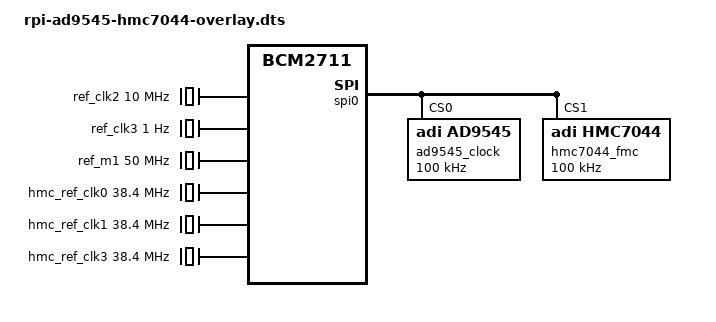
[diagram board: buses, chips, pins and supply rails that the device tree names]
/dts-v1/;
/plugin/;

/* AD-SYNCHRONA14-EBZ Rev. B - DT */

/ {
	#include <dt-bindings/clock/ad9545.h>
	#include <dt-bindings/iio/frequency/hmc7044.h>
	#include <dt-bindings/gpio/gpio.h>

	compatible = "brcm,bcm2835", "brcm,bcm2708", "brcm,bcm2709", "brcm,bcm2711";

	fragment@0 {

		target-path = "/";
		__overlay__ {

			ref_clk2: ref_clk_2 {
				compatible = "fixed-clock";
				#clock-cells = <1>;

				clock-frequency  = <10000000>;
				clock-output-names = "Ref-B";
			};

			ref_clk3: ref_clk_3 {
				compatible = "fixed-clock";
				#clock-cells = <1>;

				clock-frequency  = <1>;
				clock-output-names = "Ref-BB";
			};

			ref_m1: ref_m1_clk {
				compatible = "fixed-clock";
				#clock-cells = <1>;

				clock-frequency  = <50000000>;
				clock-output-names = "Ref-M1";
			};

			hmc_ref_clk0: hmc_ref_clk_0 {
				compatible = "fixed-clock";
				#clock-cells = <1>;

				clock-frequency  = <38400000>;
				clock-output-names = "HMC-REF_CLKIN0";
			};

			hmc_ref_clk1: hmc_ref_clk_1 {
				compatible = "fixed-clock";
				#clock-cells = <1>;

				clock-frequency  = <38400000>;
				clock-output-names = "HMC-REF_CLKIN1";
			};

			hmc_ref_clk3: hmc_ref_clk_3 {
				compatible = "fixed-clock";
				#clock-cells = <1>;

				clock-frequency  = <38400000>;
				clock-output-names = "HMC-REF_CLKIN3";
			};
		};
	};

	fragment@1 {
		target = <&spi0>;
		__overlay__ {
			compatible = "brcm,bcm2835-spi";

			#address-cells = <0x1>;
			#size-cells = <0>;
			status = "okay";

			ad9545_clock: ad9545@0 {
				compatible = "adi,ad9545";
				reg = <0>;

				#address-cells = <1>;
				#size-cells = <0>;

				adi,ref-crystal;
				adi,ref-frequency-hz = <49152000>;
				spi-max-frequency = <100000>;

				clock-names = "Ref-B", "Ref-BB", "Ref-M1";
				clocks = <&ref_clk2 2>, <&ref_clk3 3>, <&ref_m1 1>;

				#clock-cells = <2>;
				assigned-clocks = <&ad9545_clock AD9545_CLK_NCO AD9545_NCO0>,
						  <&ad9545_clock AD9545_CLK_PLL AD9545_PLL0>,
						  <&ad9545_clock AD9545_CLK_PLL AD9545_PLL1>,
						  <&ad9545_clock AD9545_CLK_OUT AD9545_Q0A>,
						  <&ad9545_clock AD9545_CLK_OUT AD9545_Q1A>,
						  <&ad9545_clock AD9545_CLK_AUX_TDC AD9545_CLK_AUX_TDC0>;
				assigned-clock-rates = <10000>, <1382400000>, <1804800000>, <38400000>, <38400000>, <200000>;

				aux-tdc-clk@0 {
					reg = <0>;
					adi,pin-nr = <1>;
				};

				aux-dpll@0 {
					reg = <0>;
					adi,compensation-source = <4>;
					adi,aux-dpll-bw-mhz = <200000>;
				};

				/* Ref B*/
				ref-input-clk@2 {
					reg = <2>;
					adi,single-ended-mode = <DRIVER_MODE_AC_COUPLED>;
					adi,r-divider-ratio = <200>;
					adi,ref-dtol-pbb = <10000000>;
					adi,ref-monitor-hysteresis-pbb = <87500>;
					adi,ref-validation-timer-ms = <10>;
					adi,freq-lock-threshold-ps = <0xFFFFFF>;
					adi,phase-lock-threshold-ps = <0xFFFFFF>;
					adi,freq-lock-fill-rate = <20>;
					adi,freq-lock-drain-rate = <20>;
					adi,phase-lock-fill-rate = <20>;
					adi,phase-lock-drain-rate = <20>;
				};

				/* Ref BB*/
				ref-input-clk@3 {
					reg = <3>;
					adi,single-ended-mode = <DRIVER_MODE_DC_COUPLED_1V8>;
					adi,r-divider-ratio = <1>;
					adi,ref-dtol-pbb = <10000000>;
					adi,ref-monitor-hysteresis-pbb = <87500>;
					adi,ref-validation-timer-ms = <10000>;
					adi,freq-lock-threshold-ps = <0xFFFFFF>;
					adi,phase-lock-threshold-ps = <0xFFFFFF>;
					adi,freq-lock-fill-rate = <200>;
					adi,freq-lock-drain-rate = <20>;
					adi,phase-lock-fill-rate = <200>;
					adi,phase-lock-drain-rate = <20>;
				};

				aux-nco-clk@AD9545_NCO0 {
					reg = <AD9545_NCO0>;
					adi,freq-lock-threshold-ps = <0xFFFFFF>;
					adi,phase-lock-threshold-ps = <0xFFFFFF>;
				};

				ad9545_apll0: pll-clk@AD9545_PLL0 {
					reg = <AD9545_PLL0>;

					#address-cells = <1>;
					#size-cells = <0>;

					profile@0 {
						reg = <0>;
						adi,pll-source = <4>;
						adi,profile-priority = <20>;
						adi,pll-loop-bandwidth-uhz = <200000000>;
					};

					profile@1 {
						reg = <1>;
						adi,pll-source = <2>;
						adi,profile-priority = <10>;
						adi,pll-loop-bandwidth-uhz = <200000000>;
					};

					profile@2 {
						reg = <2>;
						adi,pll-source = <3>;
						adi,profile-priority = <0>;
						adi,pll-loop-bandwidth-uhz = <50000>;

						adi,fast-acq-excess-bw = <8>;
						adi,fast-acq-timeout-ms = <10000>;
						adi,fast-acq-lock-settle-ms = <1000>;
					};
				};

				ad9545_apll1: pll-clk@AD9545_PLL1 {
					reg = <AD9545_PLL1>;

					#address-cells = <1>;
					#size-cells = <0>;

					profile@0 {
						reg = <0>;
						adi,pll-source = <4>;
						adi,profile-priority = <20>;
						adi,pll-loop-bandwidth-uhz = <200000000>;
					};

					profile@1 {
						reg = <1>;
						adi,pll-source = <2>;
						adi,profile-priority = <10>;
						adi,pll-loop-bandwidth-uhz = <200000000>;
					};

					profile@2 {
						reg = <2>;
						adi,pll-source = <3>;
						adi,profile-priority = <0>;
						adi,pll-loop-bandwidth-uhz = <50000>;

						adi,fast-acq-excess-bw = <8>;
						adi,fast-acq-timeout-ms = <10000>;
						adi,fast-acq-lock-settle-ms = <1000>;
					};
				};

				/* Output Q0A CML -> J27 J28 */
				output-clk@AD9545_Q0A {
					reg = <AD9545_Q0A>;
					adi,output-mode = <DRIVER_MODE_SINGLE_DIV_DIF>;
					adi,current-source-microamp = <15000>;
				};

				/* Output Q1A -> CLK_IN 2 of HMC7044 */
				output-clk@AD9545_Q1A {
					reg = <AD9545_Q1A>;
					adi,output-mode = <DRIVER_MODE_SINGLE_DIV_DIF>;
					adi,current-source-microamp = <15000>;
				};

				/* TODO: when adding one shot configuration from DT add here Q1B */
			};

			hmc7044_fmc: hmc7044@1 {
				reg = <0x1>;

				#address-cells = <1>;
				#size-cells = <0>;
				#clock-cells = <1>;

				compatible = "adi,hmc7044";
				spi-max-frequency = <100000>;

				adi,pll1-clkin-frequencies = <38400000 38400000 38400000 38400000>;

				/*
					HMC7044 Input Clocking Priorities:
					CLKIN2 -> CLKIN0 -> CLKIN1 -> CLKIN3
					Where:
						- CLKIN2 - AD9545
						- CLKIN0 - J23/J24
						- CLKIN1 - J25/J26
						- CLKIN3 - 40 MHz or 38.4 MHz TCXO
				*/
				adi,pll1-ref-prio-ctrl = <0xD2>;
				adi,pll1-ref-autorevert-enable;

				adi,pll1-loop-bandwidth-hz = <200>;

				/* All HMC7044 inputs are AC Coupled */
				adi,clkin0-buffer-mode = <0x03>;
				adi,clkin1-buffer-mode  = <0x03>;
				adi,clkin2-buffer-mode  = <0x03>;
				adi,clkin3-buffer-mode  = <0x03>;

				clocks = <&hmc_ref_clk0 0>, <&hmc_ref_clk1 0>, <&ad9545_clock AD9545_CLK_OUT AD9545_Q1A>, <&hmc_ref_clk3 0>;
				clock-names = "clkin0", "clkin1", "clkin2", "clkin3";

				/* depends on VCXO_SELECT_PI */
				adi,vcxo-frequency = <122880000>;
				adi,pll2-output-frequency = <2457600000>;
				adi,sysref-timer-divider = <1024>;
				adi,pulse-generator-mode = <HMC7044_PULSE_GEN_CONT_PULSE>;

				adi,oscin-buffer-mode = <0x15>;
				adi,sync-pin-mode = <HMC7044_SYNC_PIN_SYNC>;

				adi,gpi-controls = <0x00 0x00 0x00 0x00>;
				adi,gpo-controls = <0x1f 0x2b 0x00 0x00>;

				clock-output-names = "HMC7044_OUT0", "HMC7044_OUT1",
						     "HMC7044_OUT2", "HMC7044_OUT3",
						     "HMC7044_OUT4", "HMC7044_OUT5",
						     "HMC7044_OUT6", "HMC7044_OUT7",
						     "HMC7044_OUT8", "HMC7044_OUT9",
						     "HMC7044_OUT10", "HMC7044_OUT11",
						     "HMC7044_OUT12", "HMC7044_OUT13";

				/*
				 * Channels in CMOS mode should configure
				 * adi,driver-impedance-mode to:
				 * 0 - no output
				 * 1 - N output
				 * 2 - P ourput
				 * 3 - both
				 * Depending on the desired output pin.
				 */
				channel@0 {
					reg = <0>;
					adi,extended-name = "HMC7044_OUT0";
					adi,divider = <50>;
					adi,driver-mode = <HMC7044_DRIVER_MODE_LVPECL>;
				};

				channel@1 {
					reg = <1>;
					adi,extended-name = "HMC7044_OUT1";
					adi,divider = <50>;
					adi,driver-mode = <HMC7044_DRIVER_MODE_LVPECL>;
				};

				channel@2 {
					reg = <2>;
					adi,extended-name = "HMC7044_OUT2";
					adi,divider = <50>;
					adi,driver-mode = <HMC7044_DRIVER_MODE_LVPECL>;
				};

				channel@3 {
					reg = <3>;
					adi,extended-name = "HMC7044_OUT3";
					adi,divider = <50>;
					adi,driver-mode = <HMC7044_DRIVER_MODE_LVPECL>;
				};

				channel@4 {
					reg = <4>;
					adi,extended-name = "HMC7044_OUT4";
					adi,divider = <50>;
					adi,driver-mode = <HMC7044_DRIVER_MODE_CMOS>;
					adi,driver-impedance-mode = <3>;
				};

				channel@5 {
					reg = <5>;
					adi,extended-name = "HMC7044_OUT5";
					adi,divider = <50>;
					adi,driver-mode = <HMC7044_DRIVER_MODE_LVPECL>;
				};

				channel@6 {
					reg = <6>;
					adi,extended-name = "HMC7044_OUT6";
					adi,divider = <50>;
					adi,driver-mode = <HMC7044_DRIVER_MODE_CMOS>;
					adi,driver-impedance-mode = <3>;
				};

				channel@7 {
					reg = <7>;
					adi,extended-name = "HMC7044_OUT7";
					adi,divider = <50>;
					adi,driver-mode = <HMC7044_DRIVER_MODE_LVDS>;
				};

				channel@8 {
					reg = <8>;
					adi,extended-name = "HMC7044_OUT8";
					adi,divider = <50>;
					adi,driver-mode = <HMC7044_DRIVER_MODE_LVDS>;
				};

				channel@9 {
					reg = <9>;
					adi,extended-name = "HMC7044_OUT9";
					adi,divider = <50>;
					adi,driver-mode = <HMC7044_DRIVER_MODE_LVDS>;
				};

				channel@10 {
					reg = <10>;
					adi,extended-name = "HMC7044_OUT10";
					adi,divider = <50>;
					adi,driver-mode = <HMC7044_DRIVER_MODE_LVDS>;
				};

				channel@11 {
					reg = <11>;
					adi,extended-name = "HMC7044_OUT11";
					adi,divider = <50>;
					adi,driver-mode = <HMC7044_DRIVER_MODE_CMOS>;
					adi,driver-impedance-mode = <3>;
				};

				channel@12 {
					reg = <12>;
					adi,extended-name = "HMC7044_OUT12";
					adi,divider = <50>;
					adi,driver-mode = <HMC7044_DRIVER_MODE_LVPECL>;
				};

				channel@13 {
					reg = <13>;
					adi,extended-name = "HMC7044_OUT13";
					adi,divider = <50>;
					adi,driver-mode = <HMC7044_DRIVER_MODE_CMOS>;
					adi,driver-impedance-mode = <3>;
				};
			};
		};
	};

	fragment@2 {
		target = <&gpio>;
		__overlay__ {

			gpio_overrides: gpio_overrides {
				/* GPIO_4_HMC7044_CAR - 4
				 * GPIO_1_HMC7044_CAR - 17
				 * GPIO_2_HMC7044_CAR - 27
				 * GPIO_3_HMC7044_CAR - 22
				 * RESETB_AD9545_PI - 25
				 * RESET_HMC7044_CAR_PI - 5
				 * VCXO_SELECT_PI - 6
				 * GPIO19_PI - 19
				 * GPIO26_PI - 26
				 */

				pin-25-reset-high {
					pins = "gpio25";
					function = "gpio_out";
					bias-pull-up;
					output-high;
				};

				pin-5-reset-low {
					pins = "gpio5";
					function = "gpio_out";
					bias-pull-down;
				};

				pin-6-vcxo-select {
					pins = "gpio6";
					function = "gpio_out";
					bias-pull-up;
					output-high;
				};

				pin-12-red_led {
					pins = "gpio12";
					function = "gpio_out";
					bias-pull-up;
					output-high;
				};

				power_ctrl: power_ctrl {
					compatible = "gpio-poweroff";
					gpios = <&gpio 20 GPIO_ACTIVE_LOW>;
					input = <1>;
					force;
				};

				pin-40-power-off-ok {
					pins = "gpio21";
					function = "gpio_out";
					bias-pull-up;
					output-high;
				};
			};
		};
	};

	fragment@3 {
		target = <&spidev0>;
		__overlay__ {
			status = "disabled";
		};
	};

	fragment@4 {
		target = <&spidev1>;
		__overlay__ {
			status = "disabled";
		};
	};
};
